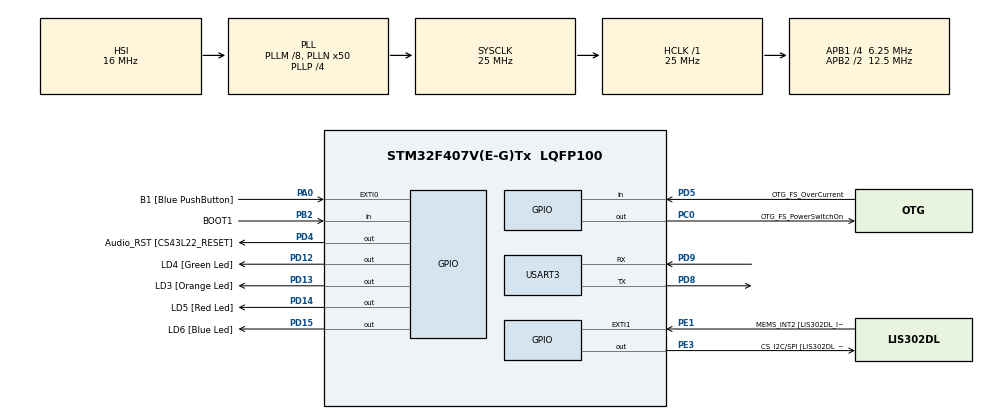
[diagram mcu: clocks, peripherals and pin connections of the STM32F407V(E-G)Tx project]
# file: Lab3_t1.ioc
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FREERTOS.Queues01=queueLED,16,8,1,Dynamic,NULL,NULL
FREERTOS.Tasks01=defaultTask,24,128,StartDefaultTask,Default,NULL,Dynamic,NULL,NULL;threadLED,8,128,StartTask02,Default,NULL,Dynamic,NULL,NULL
FREERTOS.configUSE_NEWLIB_REENTRANT=1
Mcu.Family=STM32F4
Mcu.Name=STM32F407V(E-G)Tx
Mcu.Package=LQFP100
NVIC.EXTI0_IRQn=true\:5\:0\:false\:false\:true\:true\:true\:true\:true
NVIC.PriorityGroup=NVIC_PRIORITYGROUP_4
NVIC.TIM1_UP_TIM10_IRQn=true\:15\:0\:false\:false\:true\:false\:false\:true\:true
NVIC.TimeBase=TIM1_UP_TIM10_IRQn
NVIC.TimeBaseIP=TIM1
PA0-WKUP.GPIO_Label=B1 [Blue PushButton]
PA0-WKUP.GPIO_ModeDefaultEXTI=GPIO_MODE_IT_FALLING
PA0-WKUP.Signal=GPXTI0
PA10.GPIO_Label=OTG_FS_ID
PA10.GPIO_Mode=GPIO_MODE_AF_PP
PA10.GPIO_PuPd=GPIO_NOPULL
PA10.GPIO_Speed=GPIO_SPEED_FREQ_LOW
PA10.Signal=USB_OTG_FS_ID
PA11.GPIO_Label=OTG_FS_DM
PA11.GPIO_Mode=GPIO_MODE_AF_PP
PA11.GPIO_PuPd=GPIO_NOPULL
PA11.GPIO_Speed=GPIO_SPEED_FREQ_LOW
PA11.Signal=USB_OTG_FS_DM
PA12.GPIO_Label=OTG_FS_DP
PA12.GPIO_Mode=GPIO_MODE_AF_PP
PA12.GPIO_PuPd=GPIO_NOPULL
PA12.GPIO_Speed=GPIO_SPEED_FREQ_LOW
PA12.Signal=USB_OTG_FS_DP
PA13.GPIO_Label=SWDIO
PA13.Signal=SYS_JTMS-SWDIO
PA14.GPIO_Label=SWCLK
PA14.Signal=SYS_JTCK-SWCLK
PA4.GPIO_Label=I2S3_WS [CS43L22_LRCK]
PA4.GPIO_Mode=GPIO_MODE_AF_PP
PA4.GPIO_PuPd=GPIO_NOPULL
PA4.GPIO_Speed=GPIO_SPEED_FREQ_LOW
PA4.Signal=I2S3_WS
PA5.GPIO_Label=SPI1_SCK [LIS302DL_SCL/SPC]
PA5.GPIO_Mode=GPIO_MODE_AF_PP
PA5.GPIO_PuPd=GPIO_NOPULL
PA5.GPIO_Speed=GPIO_SPEED_FREQ_LOW
PA5.Signal=SPI1_SCK
PA6.GPIO_Label=SPI1_MISO [LIS302DL_SDO]
PA6.GPIO_Mode=GPIO_MODE_AF_PP
PA6.GPIO_PuPd=GPIO_NOPULL
PA6.GPIO_Speed=GPIO_SPEED_FREQ_LOW
PA6.Signal=SPI1_MISO
PA7.GPIO_Label=SPI1_MOSI [LIS302DL_SDA/SDI/SDO]
PA7.GPIO_Mode=GPIO_MODE_AF_PP
PA7.GPIO_PuPd=GPIO_NOPULL
PA7.GPIO_Speed=GPIO_SPEED_FREQ_LOW
PA7.Signal=SPI1_MOSI
PA9.GPIO_Label=VBUS_FS
PA9.GPIO_Mode=GPIO_MODE_INPUT
PA9.GPIO_PuPd=GPIO_NOPULL
PA9.Signal=USB_OTG_FS_VBUS
PB10.GPIO_Label=CLK_IN [MP45DT02_CLK]
PB10.GPIO_Mode=GPIO_MODE_AF_PP
PB10.GPIO_PuPd=GPIO_NOPULL
PB10.GPIO_Speed=GPIO_SPEED_FREQ_LOW
PB10.Signal=I2S2_CK
PB2.GPIO_Label=BOOT1
PB2.GPIO_Mode=GPIO_MODE_INPUT
PB2.GPIO_PuPd=GPIO_NOPULL
PB2.Signal=GPIO_Input
PB3.GPIO_Label=SWO
PB3.Signal=SYS_JTDO-SWO
PB6.GPIO_Label=Audio_SCL [CS43L22_SCL]
PB6.GPIO_Mode=GPIO_MODE_AF_OD
PB6.GPIO_PuPd=GPIO_NOPULL
PB6.GPIO_Speed=GPIO_SPEED_FREQ_LOW
PB6.Signal=I2C1_SCL
PB9.GPIO_Label=Audio_SDA [CS43L22_SDA]
PB9.GPIO_Mode=GPIO_MODE_AF_OD
PB9.GPIO_PuPd=GPIO_NOPULL
PB9.GPIO_Speed=GPIO_SPEED_FREQ_LOW
PB9.Signal=I2C1_SDA
PC0.GPIO_Label=OTG_FS_PowerSwitchOn
PC0.GPIO_PuPd=GPIO_NOPULL
PC0.GPIO_Speed=GPIO_SPEED_FREQ_LOW
PC0.PinState=GPIO_PIN_SET
PC0.Signal=GPIO_Output
PC10.GPIO_Label=I2S3_SCK [CS43L22_SCLK]
PC10.GPIO_Mode=GPIO_MODE_AF_PP
PC10.GPIO_PuPd=GPIO_NOPULL
PC10.GPIO_Speed=GPIO_SPEED_FREQ_LOW
PC10.Signal=I2S3_CK
PC12.GPIO_Label=I2S3_SD [CS43L22_SDIN]
PC12.GPIO_Mode=GPIO_MODE_AF_PP
PC12.GPIO_PuPd=GPIO_NOPULL
PC12.GPIO_Speed=GPIO_SPEED_FREQ_LOW
PC12.Signal=I2S3_SD
PC14-OSC32_IN.GPIO_Label=PC14-OSC32_IN
PC14-OSC32_IN.Signal=RCC_OSC32_IN
PC15-OSC32_OUT.GPIO_Label=PC15-OSC32_OUT
PC15-OSC32_OUT.Signal=RCC_OSC32_OUT
PC3.GPIO_Label=PDM_OUT [MP45DT02_DOUT]
PC3.GPIO_Mode=GPIO_MODE_AF_PP
PC3.GPIO_PuPd=GPIO_NOPULL
PC3.GPIO_Speed=GPIO_SPEED_FREQ_LOW
PC3.Signal=I2S2_SD
PC7.GPIO_Label=I2S3_MCK [CS43L22_MCLK]
PC7.GPIO_Mode=GPIO_MODE_AF_PP
PC7.GPIO_PuPd=GPIO_NOPULL
PC7.GPIO_Speed=GPIO_SPEED_FREQ_LOW
PC7.Signal=I2S3_MCK
PD12.GPIO_Label=LD4 [Green Led]
PD12.GPIO_PuPd=GPIO_NOPULL
PD12.GPIO_Speed=GPIO_SPEED_FREQ_LOW
PD12.Signal=GPIO_Output
PD13.GPIO_Label=LD3 [Orange Led]
PD13.GPIO_PuPd=GPIO_NOPULL
PD13.GPIO_Speed=GPIO_SPEED_FREQ_LOW
PD13.Signal=GPIO_Output
PD14.GPIO_Label=LD5 [Red Led]
PD14.GPIO_PuPd=GPIO_NOPULL
PD14.GPIO_Speed=GPIO_SPEED_FREQ_LOW
PD14.Signal=GPIO_Output
PD15.GPIO_Label=LD6 [Blue Led]
PD15.GPIO_PuPd=GPIO_NOPULL
PD15.GPIO_Speed=GPIO_SPEED_FREQ_LOW
PD15.Signal=GPIO_Output
PD4.GPIO_Label=Audio_RST [CS43L22_RESET]
PD4.GPIO_PuPd=GPIO_NOPULL
PD4.GPIO_Speed=GPIO_SPEED_FREQ_LOW
PD4.Signal=GPIO_Output
PD5.GPIO_Label=OTG_FS_OverCurrent
PD5.GPIO_Mode=GPIO_MODE_INPUT
PD5.GPIO_PuPd=GPIO_NOPULL
PD5.Signal=GPIO_Input
PD8.Mode=Asynchronous
PD8.Signal=USART3_TX
PD9.Mode=Asynchronous
PD9.Signal=USART3_RX
PE1.GPIO_Label=MEMS_INT2 [LIS302DL_INT2]
PE1.GPIO_ModeDefaultEXTI=GPIO_MODE_EVT_RISING
PE1.GPIO_PuPd=GPIO_NOPULL
PE1.Signal=GPXTI1
PE3.GPIO_Label=CS_I2C/SPI [LIS302DL_CS_I2C/SPI]
PE3.GPIO_PuPd=GPIO_NOPULL
PE3.GPIO_Speed=GPIO_SPEED_FREQ_LOW
PE3.Signal=GPIO_Output
PH0-OSC_IN.GPIO_Label=PH0-OSC_IN
PH0-OSC_IN.Signal=RCC_OSC_IN
PH1-OSC_OUT.GPIO_Label=PH1-OSC_OUT
PH1-OSC_OUT.Signal=RCC_OSC_OUT
ProjectManager.HeapSize=0x200
ProjectManager.StackSize=0x400
ProjectManager.TargetToolchain=STM32CubeIDE
RCC.48MHZClocksFreq_Value=14285714.285714285
RCC.AHBFreq_Value=25000000
RCC.APB1CLKDivider=RCC_HCLK_DIV4
RCC.APB1Freq_Value=6250000
RCC.APB1TimFreq_Value=12500000
RCC.APB2CLKDivider=RCC_HCLK_DIV2
RCC.APB2Freq_Value=12500000
RCC.APB2TimFreq_Value=25000000
RCC.CortexFreq_Value=25000000
RCC.HCLKFreq_Value=25000000
RCC.HSE_VALUE=8000000
RCC.HSI_VALUE=16000000
RCC.LSE_VALUE=32768
RCC.PLLM=8
RCC.PLLN=50
RCC.PLLP=RCC_PLLP_DIV4
RCC.PLLQ=7
RCC.SYSCLKFreq_VALUE=25000000
RCC.SYSCLKSource=RCC_SYSCLKSOURCE_PLLCLK
RCC.VCOOutputFreq_Value=100000000
USART3.VirtualMode=VM_ASYNC
VP_FREERTOS_VS_CMSIS_V2.Mode=CMSIS_V2
VP_SYS_VS_tim1.Mode=TIM1
board=STM32F407G-DISC1

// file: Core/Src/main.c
/* USER CODE BEGIN Header */
/**
  ******************************************************************************
  * @file           : main.c
  * @brief          : Main program body
  ******************************************************************************
  * @attention
  *
  * Copyright (c) 2025 STMicroelectronics.
  * All rights reserved.
  *
  * This software is licensed under terms that can be found in the LICENSE file
  * in the root directory of this software component.
  * If no LICENSE file comes with this software, it is provided AS-IS.
  *
  ******************************************************************************
  */
/* USER CODE END Header */
#include "main.h"
#include "cmsis_os.h"

/* USER CODE BEGIN Includes */
#include <stdio.h>
#include <string.h>

/* USER CODE END Includes */

/* USER CODE BEGIN PD */
#define CMD_MAX_LEN 32

/* USER CODE END PD */

UART_HandleTypeDef huart3;

/* Definitions for defaultTask */
osThreadId_t defaultTaskHandle;
const osThreadAttr_t defaultTask_attributes = {
  .name = "defaultTask",
  .stack_size = 128 * 4,
  .priority = (osPriority_t) osPriorityNormal,
};
/* Definitions for threadLED */
osThreadId_t threadLEDHandle;
const osThreadAttr_t threadLED_attributes = {
  .name = "threadLED",
  .stack_size = 128 * 4,
  .priority = (osPriority_t) osPriorityLow,
};
/* Definitions for queueLED */
osMessageQueueId_t queueLEDHandle;
const osMessageQueueAttr_t queueLED_attributes = {
  .name = "queueLED"
};
/* USER CODE BEGIN PV */
uint8_t command[80];

/* USER CODE END PV */

void SystemClock_Config(void);
static void MX_GPIO_Init(void);
static void MX_USART3_UART_Init(void);
void StartDefaultTask(void *argument);
void StartTask02(void *argument);

/* USER CODE BEGIN 0 */
int __io_putchar(int ch)
{
	HAL_UART_Transmit(&huart3, (uint8_t *)&ch, 1, 200);
	return ch;
}

void readCommand(uint8_t* cmd)
{
	uint8_t chr = 0;
	HAL_StatusTypeDef status = HAL_ERROR;
	uint32_t index = 0;

	/* Infinite loop */
	for(;;)
	{
		status = HAL_UART_Receive(&huart3, &chr, 1, 100);
		if (status == HAL_OK)
		{
			HAL_UART_Transmit(&huart3, &chr, 1, 100);
			if ((chr == '\r') || index == 6)
			{
				chr = '\n';
				HAL_UART_Transmit(&huart3, &chr, 1, 100);
				cmd[index] = '\0';
				return;
			}
			else
			{
				cmd[index] = chr;
				index++;
			}
		}
		osDelay(1);
	}
}
/* USER CODE END 0 */

int main(void)
{

  /* MCU Configuration--------------------------------------------------------*/

  /* Reset of all peripherals, Initializes the Flash interface and the Systick. */
  HAL_Init();

  /* Configure the system clock */
  SystemClock_Config();

  /* Initialize all configured peripherals */
  MX_GPIO_Init();
  MX_USART3_UART_Init();

  /* Init scheduler */
  osKernelInitialize();

  /* Create the queue(s) */
  /* creation of queueLED */
  queueLEDHandle = osMessageQueueNew (16, 8, &queueLED_attributes);

  /* Create the thread(s) */
  /* creation of defaultTask */
  defaultTaskHandle = osThreadNew(StartDefaultTask, NULL, &defaultTask_attributes);

  /* creation of threadLED */
  threadLEDHandle = osThreadNew(StartTask02, NULL, &threadLED_attributes);

  /* Start scheduler */
  osKernelStart();

  /* We should never get here as control is now taken by the scheduler */

  /* Infinite loop */
  while (1)
  {

  }
}

void SystemClock_Config(void)
{
  RCC_OscInitTypeDef RCC_OscInitStruct = {0};
  RCC_ClkInitTypeDef RCC_ClkInitStruct = {0};

  /** Configure the main internal regulator output voltage
  */
  __HAL_RCC_PWR_CLK_ENABLE();
  __HAL_PWR_VOLTAGESCALING_CONFIG(PWR_REGULATOR_VOLTAGE_SCALE1);

  /** Initializes the RCC Oscillators according to the specified parameters
  * in the RCC_OscInitTypeDef structure.
  */
  RCC_OscInitStruct.OscillatorType = RCC_OSCILLATORTYPE_HSI;
  RCC_OscInitStruct.HSIState = RCC_HSI_ON;
  RCC_OscInitStruct.HSICalibrationValue = RCC_HSICALIBRATION_DEFAULT;
  RCC_OscInitStruct.PLL.PLLState = RCC_PLL_ON;
  RCC_OscInitStruct.PLL.PLLSource = RCC_PLLSOURCE_HSI;
  RCC_OscInitStruct.PLL.PLLM = 8;
  RCC_OscInitStruct.PLL.PLLN = 50;
  RCC_OscInitStruct.PLL.PLLP = RCC_PLLP_DIV4;
  RCC_OscInitStruct.PLL.PLLQ = 7;
  if (HAL_RCC_OscConfig(&RCC_OscInitStruct) != HAL_OK)
  {
    Error_Handler();
  }

  /** Initializes the CPU, AHB and APB buses clocks
  */
  RCC_ClkInitStruct.ClockType = RCC_CLOCKTYPE_HCLK|RCC_CLOCKTYPE_SYSCLK
                              |RCC_CLOCKTYPE_PCLK1|RCC_CLOCKTYPE_PCLK2;
  RCC_ClkInitStruct.SYSCLKSource = RCC_SYSCLKSOURCE_PLLCLK;
  RCC_ClkInitStruct.AHBCLKDivider = RCC_SYSCLK_DIV1;
  RCC_ClkInitStruct.APB1CLKDivider = RCC_HCLK_DIV4;
  RCC_ClkInitStruct.APB2CLKDivider = RCC_HCLK_DIV2;

  if (HAL_RCC_ClockConfig(&RCC_ClkInitStruct, FLASH_LATENCY_0) != HAL_OK)
  {
    Error_Handler();
  }
}

static void MX_USART3_UART_Init(void)
{

  huart3.Instance = USART3;
  huart3.Init.BaudRate = 115200;
  huart3.Init.WordLength = UART_WORDLENGTH_8B;
  huart3.Init.StopBits = UART_STOPBITS_1;
  huart3.Init.Parity = UART_PARITY_NONE;
  huart3.Init.Mode = UART_MODE_TX_RX;
  huart3.Init.HwFlowCtl = UART_HWCONTROL_NONE;
  huart3.Init.OverSampling = UART_OVERSAMPLING_16;
  if (HAL_UART_Init(&huart3) != HAL_OK)
  {
    Error_Handler();
  }

}

static void MX_GPIO_Init(void)
{
  GPIO_InitTypeDef GPIO_InitStruct = {0};

  /* GPIO Ports Clock Enable */
  __HAL_RCC_GPIOE_CLK_ENABLE();
  __HAL_RCC_GPIOC_CLK_ENABLE();
  __HAL_RCC_GPIOH_CLK_ENABLE();
  __HAL_RCC_GPIOA_CLK_ENABLE();
  __HAL_RCC_GPIOB_CLK_ENABLE();
  __HAL_RCC_GPIOD_CLK_ENABLE();

  /*Configure GPIO pin Output Level */
  HAL_GPIO_WritePin(CS_I2C_SPI_GPIO_Port, CS_I2C_SPI_Pin, GPIO_PIN_RESET);

  /*Configure GPIO pin Output Level */
  HAL_GPIO_WritePin(OTG_FS_PowerSwitchOn_GPIO_Port, OTG_FS_PowerSwitchOn_Pin, GPIO_PIN_SET);

  /*Configure GPIO pin Output Level */
  HAL_GPIO_WritePin(GPIOD, LD4_Pin|LD3_Pin|LD5_Pin|LD6_Pin
                          |Audio_RST_Pin, GPIO_PIN_RESET);

  /*Configure GPIO pin : CS_I2C_SPI_Pin */
  GPIO_InitStruct.Pin = CS_I2C_SPI_Pin;
  GPIO_InitStruct.Mode = GPIO_MODE_OUTPUT_PP;
  GPIO_InitStruct.Pull = GPIO_NOPULL;
  GPIO_InitStruct.Speed = GPIO_SPEED_FREQ_LOW;
  HAL_GPIO_Init(CS_I2C_SPI_GPIO_Port, &GPIO_InitStruct);

  /*Configure GPIO pin : OTG_FS_PowerSwitchOn_Pin */
  GPIO_InitStruct.Pin = OTG_FS_PowerSwitchOn_Pin;
  GPIO_InitStruct.Mode = GPIO_MODE_OUTPUT_PP;
  GPIO_InitStruct.Pull = GPIO_NOPULL;
  GPIO_InitStruct.Speed = GPIO_SPEED_FREQ_LOW;
  HAL_GPIO_Init(OTG_FS_PowerSwitchOn_GPIO_Port, &GPIO_InitStruct);

  /*Configure GPIO pin : PDM_OUT_Pin */
  GPIO_InitStruct.Pin = PDM_OUT_Pin;
  GPIO_InitStruct.Mode = GPIO_MODE_AF_PP;
  GPIO_InitStruct.Pull = GPIO_NOPULL;
  GPIO_InitStruct.Speed = GPIO_SPEED_FREQ_LOW;
  GPIO_InitStruct.Alternate = GPIO_AF5_SPI2;
  HAL_GPIO_Init(PDM_OUT_GPIO_Port, &GPIO_InitStruct);

  /*Configure GPIO pin : B1_Pin */
  GPIO_InitStruct.Pin = B1_Pin;
  GPIO_InitStruct.Mode = GPIO_MODE_IT_FALLING;
  GPIO_InitStruct.Pull = GPIO_NOPULL;
  HAL_GPIO_Init(B1_GPIO_Port, &GPIO_InitStruct);

  /*Configure GPIO pin : I2S3_WS_Pin */
  GPIO_InitStruct.Pin = I2S3_WS_Pin;
  GPIO_InitStruct.Mode = GPIO_MODE_AF_PP;
  GPIO_InitStruct.Pull = GPIO_NOPULL;
  GPIO_InitStruct.Speed = GPIO_SPEED_FREQ_LOW;
  GPIO_InitStruct.Alternate = GPIO_AF6_SPI3;
  HAL_GPIO_Init(I2S3_WS_GPIO_Port, &GPIO_InitStruct);

  /*Configure GPIO pins : SPI1_SCK_Pin SPI1_MISO_Pin SPI1_MOSI_Pin */
  GPIO_InitStruct.Pin = SPI1_SCK_Pin|SPI1_MISO_Pin|SPI1_MOSI_Pin;
  GPIO_InitStruct.Mode = GPIO_MODE_AF_PP;
  GPIO_InitStruct.Pull = GPIO_NOPULL;
  GPIO_InitStruct.Speed = GPIO_SPEED_FREQ_LOW;
  GPIO_InitStruct.Alternate = GPIO_AF5_SPI1;
  HAL_GPIO_Init(GPIOA, &GPIO_InitStruct);

  /*Configure GPIO pin : BOOT1_Pin */
  GPIO_InitStruct.Pin = BOOT1_Pin;
  GPIO_InitStruct.Mode = GPIO_MODE_INPUT;
  GPIO_InitStruct.Pull = GPIO_NOPULL;
  HAL_GPIO_Init(BOOT1_GPIO_Port, &GPIO_InitStruct);

  /*Configure GPIO pin : CLK_IN_Pin */
  GPIO_InitStruct.Pin = CLK_IN_Pin;
  GPIO_InitStruct.Mode = GPIO_MODE_AF_PP;
  GPIO_InitStruct.Pull = GPIO_NOPULL;
  GPIO_InitStruct.Speed = GPIO_SPEED_FREQ_LOW;
  GPIO_InitStruct.Alternate = GPIO_AF5_SPI2;
  HAL_GPIO_Init(CLK_IN_GPIO_Port, &GPIO_InitStruct);

  /*Configure GPIO pins : LD4_Pin LD3_Pin LD5_Pin LD6_Pin
                           Audio_RST_Pin */
  GPIO_InitStruct.Pin = LD4_Pin|LD3_Pin|LD5_Pin|LD6_Pin
                          |Audio_RST_Pin;
  GPIO_InitStruct.Mode = GPIO_MODE_OUTPUT_PP;
  GPIO_InitStruct.Pull = GPIO_NOPULL;
  GPIO_InitStruct.Speed = GPIO_SPEED_FREQ_LOW;
  HAL_GPIO_Init(GPIOD, &GPIO_InitStruct);

  /*Configure GPIO pins : I2S3_MCK_Pin I2S3_SCK_Pin I2S3_SD_Pin */
  GPIO_InitStruct.Pin = I2S3_MCK_Pin|I2S3_SCK_Pin|I2S3_SD_Pin;
  GPIO_InitStruct.Mode = GPIO_MODE_AF_PP;
  GPIO_InitStruct.Pull = GPIO_NOPULL;
  GPIO_InitStruct.Speed = GPIO_SPEED_FREQ_LOW;
  GPIO_InitStruct.Alternate = GPIO_AF6_SPI3;
  HAL_GPIO_Init(GPIOC, &GPIO_InitStruct);

  /*Configure GPIO pin : VBUS_FS_Pin */
  GPIO_InitStruct.Pin = VBUS_FS_Pin;
  GPIO_InitStruct.Mode = GPIO_MODE_INPUT;
  GPIO_InitStruct.Pull = GPIO_NOPULL;
  HAL_GPIO_Init(VBUS_FS_GPIO_Port, &GPIO_InitStruct);

  /*Configure GPIO pins : OTG_FS_ID_Pin OTG_FS_DM_Pin OTG_FS_DP_Pin */
  GPIO_InitStruct.Pin = OTG_FS_ID_Pin|OTG_FS_DM_Pin|OTG_FS_DP_Pin;
  GPIO_InitStruct.Mode = GPIO_MODE_AF_PP;
  GPIO_InitStruct.Pull = GPIO_NOPULL;
  GPIO_InitStruct.Speed = GPIO_SPEED_FREQ_LOW;
  GPIO_InitStruct.Alternate = GPIO_AF10_OTG_FS;
  HAL_GPIO_Init(GPIOA, &GPIO_InitStruct);

  /*Configure GPIO pin : OTG_FS_OverCurrent_Pin */
  GPIO_InitStruct.Pin = OTG_FS_OverCurrent_Pin;
  GPIO_InitStruct.Mode = GPIO_MODE_INPUT;
  GPIO_InitStruct.Pull = GPIO_NOPULL;
  HAL_GPIO_Init(OTG_FS_OverCurrent_GPIO_Port, &GPIO_InitStruct);

  /*Configure GPIO pins : Audio_SCL_Pin Audio_SDA_Pin */
  GPIO_InitStruct.Pin = Audio_SCL_Pin|Audio_SDA_Pin;
  GPIO_InitStruct.Mode = GPIO_MODE_AF_OD;
  GPIO_InitStruct.Pull = GPIO_NOPULL;
  GPIO_InitStruct.Speed = GPIO_SPEED_FREQ_LOW;
  GPIO_InitStruct.Alternate = GPIO_AF4_I2C1;
  HAL_GPIO_Init(GPIOB, &GPIO_InitStruct);

  /*Configure GPIO pin : MEMS_INT2_Pin */
  GPIO_InitStruct.Pin = MEMS_INT2_Pin;
  GPIO_InitStruct.Mode = GPIO_MODE_EVT_RISING;
  GPIO_InitStruct.Pull = GPIO_NOPULL;
  HAL_GPIO_Init(MEMS_INT2_GPIO_Port, &GPIO_InitStruct);

  /* EXTI interrupt init*/
  HAL_NVIC_SetPriority(EXTI0_IRQn, 5, 0);
  HAL_NVIC_EnableIRQ(EXTI0_IRQn);

}

void StartDefaultTask(void *argument)
{
  /* USER CODE BEGIN 5 */
  /* Infinite loop */
  for(;;)
  {
	  uint8_t command[CMD_MAX_LEN];

	  readCommand(command);
	  osMessageQueuePut(queueLEDHandle, command, 0, 1000U);
	  osDelay(1000);
  }
  /* USER CODE END 5 */
}

void StartTask02(void *argument)
{
  /* USER CODE BEGIN StartTask02 */
	osStatus_t status;
	char cmd[CMD_MAX_LEN];

  /* Infinite loop */
  for(;;)
  {
	  /* Infinite loop */
	  for(;;)
	  {
		  status = osMessageQueueGet(queueLEDHandle, cmd, 0, osWaitForever);
		  if (status == osOK)
		  {
			  if(!strcmp(cmd, "1 on"))
			  {
				  HAL_GPIO_WritePin(GPIOD, GPIO_PIN_12, GPIO_PIN_SET);
				  printf("LED 1 turned ON\n");
			  }
			  else if(!strcmp(cmd, "1 off"))
			  {
				  HAL_GPIO_WritePin(GPIOD, GPIO_PIN_12, GPIO_PIN_RESET);
				  printf("LED 1 turned OFF\n");
			  }
			  else if(!strcmp(cmd, "2 on"))
			  {
				  HAL_GPIO_WritePin(GPIOD, GPIO_PIN_13, GPIO_PIN_SET);
				  printf("LED 2 turned ON\n");
			  }
			  else if(!strcmp(cmd, "2 off"))
			  {
				  HAL_GPIO_WritePin(GPIOD, GPIO_PIN_13, GPIO_PIN_RESET);
				  printf("LED 2 turned OFF\n");
			  }
			  else if(!strcmp(cmd, "3 on"))
			  {
				  HAL_GPIO_WritePin(GPIOD, GPIO_PIN_14, GPIO_PIN_SET);
				  printf("LED 3 turned ON\n");
			  }
			  else if(!strcmp(cmd, "3 off"))
			  {
				  HAL_GPIO_WritePin(GPIOD, GPIO_PIN_14, GPIO_PIN_RESET);
				  printf("LED 3 turned OFF\n");
			  }
			  else if(!strcmp(cmd, "4 on"))
			  {
				  HAL_GPIO_WritePin(GPIOD, GPIO_PIN_15, GPIO_PIN_SET);
				  printf("LED 4 turned ON\n");
			  }
			  else if(!strcmp(cmd, "4 off"))
			  {
				  HAL_GPIO_WritePin(GPIOD, GPIO_PIN_15, GPIO_PIN_RESET);
				  printf("LED 4 turned OFF\n");
			  }
			  else
			  {
				  printf("Unknown command\n");
			  }
		  }

	  }
  }

  osDelay(1);
  /* USER CODE END StartTask02 */
}

void HAL_TIM_PeriodElapsedCallback(TIM_HandleTypeDef *htim)
{
  if (htim->Instance == TIM1)
  {
    HAL_IncTick();
  }
}

void Error_Handler(void)
{
  __disable_irq();
  while (1)
  {
  }
}
